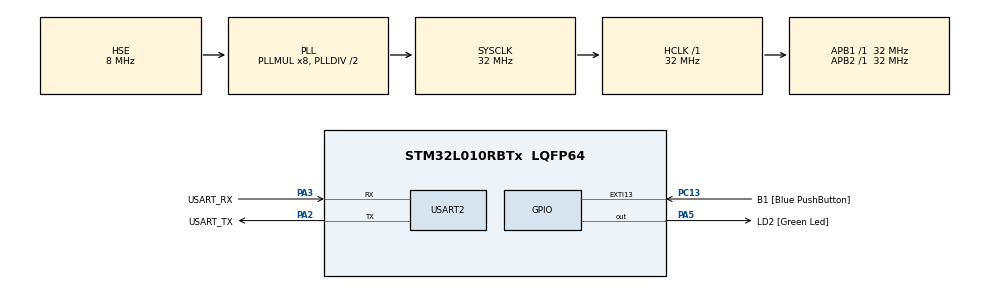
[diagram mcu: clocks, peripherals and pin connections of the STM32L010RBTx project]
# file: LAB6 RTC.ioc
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Mcu.Family=STM32L0
Mcu.Name=STM32L010RBTx
Mcu.Package=LQFP64
NVIC.RTC_IRQn=true\:0\:0\:false\:false\:true\:true\:true\:true
PA13.GPIO_Label=TMS
PA13.Mode=Serial_Wire
PA13.Signal=SYS_SWDIO
PA14.GPIO_Label=TCK
PA14.Mode=Serial_Wire
PA14.Signal=SYS_SWCLK
PA2.GPIO_Label=USART_TX
PA2.Mode=Asynchronous
PA2.Signal=USART2_TX
PA3.GPIO_Label=USART_RX
PA3.Mode=Asynchronous
PA3.Signal=USART2_RX
PA5.GPIO_Label=LD2 [Green Led]
PA5.Signal=GPIO_Output
PC13.GPIO_Label=B1 [Blue PushButton]
PC13.GPIO_ModeDefaultEXTI=GPIO_MODE_IT_FALLING
PC13.Signal=GPXTI13
PC14-OSC32_IN.Mode=LSE-External-Oscillator
PC14-OSC32_IN.Signal=RCC_OSC32_IN
PC15-OSC32_OUT.Mode=LSE-External-Oscillator
PC15-OSC32_OUT.Signal=RCC_OSC32_OUT
PH0-OSC_IN.GPIO_Label=MCO
PH0-OSC_IN.Mode=HSE-External-Clock-Source
PH0-OSC_IN.Signal=RCC_OSC_IN
ProjectManager.HeapSize=0x200
ProjectManager.StackSize=0x400
ProjectManager.TargetToolchain=STM32CubeIDE
RCC.AHBFreq_Value=32000000
RCC.APB1Freq_Value=32000000
RCC.APB1TimFreq_Value=32000000
RCC.APB2Freq_Value=32000000
RCC.APB2TimFreq_Value=32000000
RCC.HCLKFreq_Value=32000000
RCC.HSE_VALUE=8000000
RCC.HSI16_VALUE=16000000
RCC.HSI48_VALUE=48000000
RCC.HSI_VALUE=16000000
RCC.MSI_VALUE=2097000
RCC.PLLMUL=RCC_PLLMUL_8
RCC.PLLSourceVirtual=RCC_PLLSOURCE_HSE
RCC.SYSCLKFreq_VALUE=32000000
RCC.SYSCLKSource=RCC_SYSCLKSOURCE_PLLCLK
RCC.VCOOutputFreq_Value=64000000
RTC.Alarm-Alarm\ A=RTC_ALARM_A
RTC.AlarmMaskHours-Alarm\ A=RTC_ALARMMASK_HOURS
RTC.AlarmMaskMinutes-Alarm\ A=RTC_ALARMMASK_MINUTES
RTC.AlarmMaskSeconds-Alarm\ A=RTC_ALARMMASK_SECONDS
USART2.VirtualMode-Asynchronous=VM_ASYNC
VP_RTC_VS_RTC_Activate.Mode=RTC_Enabled
VP_RTC_VS_RTC_Alarm_A_Intern.Mode=Alarm A
VP_RTC_VS_RTC_Calendar.Mode=RTC_Calendar
board=NUCLEO-L010RB

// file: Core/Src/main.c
/* USER CODE BEGIN Header */
/**
 ******************************************************************************
 * @file           : main.c
 * @brief          : Main program body
 ******************************************************************************
 * @attention
 *
 * Copyright (c) 2023 STMicroelectronics.
 * All rights reserved.
 *
 * This software is licensed under terms that can be found in the LICENSE file
 * in the root directory of this software component.
 * If no LICENSE file comes with this software, it is provided AS-IS.
 *
 ******************************************************************************
 */
/* USER CODE END Header */
#include "main.h"

RTC_HandleTypeDef hrtc;

UART_HandleTypeDef huart2;

/* USER CODE BEGIN PV */

RTC_TimeTypeDef NowTime;
RTC_DateTypeDef NowDate;
struct {
	int time;
	int alarm;
} Set = { 0 };

/* USER CODE END PV */

void SystemClock_Config(void);
static void MX_GPIO_Init(void);
static void MX_USART2_UART_Init(void);
static void MX_RTC_Init(void);

int main(void) {

	/* MCU Configuration--------------------------------------------------------*/

	/* Reset of all peripherals, Initializes the Flash interface and the Systick. */
	HAL_Init();

	/* Configure the system clock */
	SystemClock_Config();

	/* Initialize all configured peripherals */
	MX_GPIO_Init();
	MX_USART2_UART_Init();
	MX_RTC_Init();

	/* Infinite loop */
	/* USER CODE BEGIN WHILE */
	while (1) {

		if (Set.time) {
			Set.time = 0;
			//setting Time
			RTC_TimeTypeDef sTime = { 0 };
			sTime.Hours = 0x11;
			sTime.Minutes = 0x55;
			sTime.Seconds = 0;
			HAL_RTC_SetTime(&hrtc, &sTime, RTC_FORMAT_BCD);
			RTC_DateTypeDef sDate = { 0 };
			sDate.Date = 0x20;
			sDate.Month = 0x10;
			sDate.WeekDay = RTC_WEEKDAY_FRIDAY;
			sDate.Year = 0x23;
			HAL_RTC_SetDate(&hrtc, &sDate, RTC_FORMAT_BCD);
		}

		if (Set.alarm) {
			Set.alarm = 0;
			//set alarm at next 10s , and Sleep CPU
			RTC_AlarmTypeDef sAlarm = { 0 };
			RTC_TimeTypeDef sTime = NowTime;
			//set alarm at now + 10 s
			sTime.Seconds += 0x10;
			//corrected over time
			if (sTime.Seconds >= 0x60) {
				sTime.Seconds -= 0x60;
				sTime.Minutes++;
				if (sTime.Minutes >= 0x60) {
					sTime.Minutes -= 0x60;
					sTime.Hours++;
					if (sTime.Hours >= 0x24) {
						sTime.Hours -= 0x24;
					}
				}
			}
			//setting alarm mask
			sAlarm.AlarmTime = sTime;
			sAlarm.Alarm = RTC_ALARM_A;
			sAlarm.AlarmMask = RTC_ALARMMASK_DATEWEEKDAY;
			sAlarm.AlarmSubSecondMask = RTC_ALARMSUBSECONDMASK_NONE;
			sAlarm.AlarmDateWeekDaySel = RTC_ALARMDATEWEEKDAYSEL_DATE;
			sAlarm.AlarmDateWeekDay = 0x1;
			//stop LED (For save energy)
			HAL_GPIO_WritePin(LD2_GPIO_Port, LD2_Pin, GPIO_PIN_RESET);
			//set alarm
			HAL_RTC_SetAlarm_IT(&hrtc, &sAlarm, RTC_FORMAT_BCD);
			//put CPU to stop mode
			HAL_SuspendTick();
			HAL_PWR_EnterSLEEPMode( PWR_MAINREGULATOR_ON, PWR_STOPENTRY_WFE);
			//code stop / resume here
			HAL_ResumeTick();
		}

		/* USER CODE END WHILE */

		/* USER CODE BEGIN 3 */

		//simulate task
		HAL_Delay(100);
		HAL_GPIO_TogglePin(LD2_GPIO_Port, LD2_Pin);
		//read RTC NEED TO READ BOTH IN ORDER
		HAL_RTC_GetTime(&hrtc, &NowTime, RTC_FORMAT_BCD);
		HAL_RTC_GetDate(&hrtc, &NowDate, RTC_FORMAT_BCD);
	}
	/* USER CODE END 3 */
}

void SystemClock_Config(void) {
	RCC_OscInitTypeDef RCC_OscInitStruct = { 0 };
	RCC_ClkInitTypeDef RCC_ClkInitStruct = { 0 };
	RCC_PeriphCLKInitTypeDef PeriphClkInit = { 0 };

	/** Configure the main internal regulator output voltage
	 */
	__HAL_PWR_VOLTAGESCALING_CONFIG(PWR_REGULATOR_VOLTAGE_SCALE1);

	/** Initializes the RCC Oscillators according to the specified parameters
	 * in the RCC_OscInitTypeDef structure.
	 */
	RCC_OscInitStruct.OscillatorType = RCC_OSCILLATORTYPE_LSI | RCC_OSCILLATORTYPE_HSE;
	RCC_OscInitStruct.HSEState = RCC_HSE_BYPASS;
	RCC_OscInitStruct.LSIState = RCC_LSI_ON;
	RCC_OscInitStruct.PLL.PLLState = RCC_PLL_ON;
	RCC_OscInitStruct.PLL.PLLSource = RCC_PLLSOURCE_HSE;
	RCC_OscInitStruct.PLL.PLLMUL = RCC_PLLMUL_8;
	RCC_OscInitStruct.PLL.PLLDIV = RCC_PLLDIV_2;
	if (HAL_RCC_OscConfig(&RCC_OscInitStruct) != HAL_OK) {
		Error_Handler();
	}

	/** Initializes the CPU, AHB and APB buses clocks
	 */
	RCC_ClkInitStruct.ClockType = RCC_CLOCKTYPE_HCLK | RCC_CLOCKTYPE_SYSCLK | RCC_CLOCKTYPE_PCLK1 | RCC_CLOCKTYPE_PCLK2;
	RCC_ClkInitStruct.SYSCLKSource = RCC_SYSCLKSOURCE_PLLCLK;
	RCC_ClkInitStruct.AHBCLKDivider = RCC_SYSCLK_DIV1;
	RCC_ClkInitStruct.APB1CLKDivider = RCC_HCLK_DIV1;
	RCC_ClkInitStruct.APB2CLKDivider = RCC_HCLK_DIV1;

	if (HAL_RCC_ClockConfig(&RCC_ClkInitStruct, FLASH_LATENCY_1) != HAL_OK) {
		Error_Handler();
	}
	PeriphClkInit.PeriphClockSelection = RCC_PERIPHCLK_USART2 | RCC_PERIPHCLK_RTC;
	PeriphClkInit.Usart2ClockSelection = RCC_USART2CLKSOURCE_PCLK1;
	PeriphClkInit.RTCClockSelection = RCC_RTCCLKSOURCE_LSI;
	if (HAL_RCCEx_PeriphCLKConfig(&PeriphClkInit) != HAL_OK) {
		Error_Handler();
	}
}

static void MX_RTC_Init(void) {

	RTC_TimeTypeDef sTime = { 0 };
	RTC_DateTypeDef sDate = { 0 };
	RTC_AlarmTypeDef sAlarm = { 0 };

	/** Initialize RTC Only
	 */
	hrtc.Instance = RTC;
	hrtc.Init.HourFormat = RTC_HOURFORMAT_24;
	hrtc.Init.AsynchPrediv = 127;
	hrtc.Init.SynchPrediv = 255;
	hrtc.Init.OutPut = RTC_OUTPUT_DISABLE;
	hrtc.Init.OutPutRemap = RTC_OUTPUT_REMAP_NONE;
	hrtc.Init.OutPutPolarity = RTC_OUTPUT_POLARITY_HIGH;
	hrtc.Init.OutPutType = RTC_OUTPUT_TYPE_OPENDRAIN;
	if (HAL_RTC_Init(&hrtc) != HAL_OK) {
		Error_Handler();
	}

	/* USER CODE BEGIN Check_RTC_BKUP */

	if (HAL_RTCEx_BKUPRead(&hrtc, 0) != 0x1234) //checking lost power rtc reset
			{

		/* USER CODE END Check_RTC_BKUP */

		/** Initialize RTC and set the Time and Date
		 */
		sTime.Hours = 0x0;
		sTime.Minutes = 0x0;
		sTime.Seconds = 0x0;
		sTime.DayLightSaving = RTC_DAYLIGHTSAVING_NONE;
		sTime.StoreOperation = RTC_STOREOPERATION_RESET;
		if (HAL_RTC_SetTime(&hrtc, &sTime, RTC_FORMAT_BCD) != HAL_OK) {
			Error_Handler();
		}
		sDate.WeekDay = RTC_WEEKDAY_MONDAY;
		sDate.Month = RTC_MONTH_JANUARY;
		sDate.Date = 0x1;
		sDate.Year = 0x0;

		if (HAL_RTC_SetDate(&hrtc, &sDate, RTC_FORMAT_BCD) != HAL_OK) {
			Error_Handler();
		}

		/** Enable the Alarm A
		 */
		sAlarm.AlarmTime.Hours = 0x0;
		sAlarm.AlarmTime.Minutes = 0x0;
		sAlarm.AlarmTime.Seconds = 0x0;
		sAlarm.AlarmTime.SubSeconds = 0x0;
		sAlarm.AlarmTime.DayLightSaving = RTC_DAYLIGHTSAVING_NONE;
		sAlarm.AlarmTime.StoreOperation = RTC_STOREOPERATION_RESET;
		sAlarm.AlarmMask = RTC_ALARMMASK_HOURS | RTC_ALARMMASK_MINUTES | RTC_ALARMMASK_SECONDS;
		sAlarm.AlarmSubSecondMask = RTC_ALARMSUBSECONDMASK_ALL;
		sAlarm.AlarmDateWeekDaySel = RTC_ALARMDATEWEEKDAYSEL_DATE;
		sAlarm.AlarmDateWeekDay = 0x1;
		sAlarm.Alarm = RTC_ALARM_A;
		if (HAL_RTC_SetAlarm_IT(&hrtc, &sAlarm, RTC_FORMAT_BCD) != HAL_OK) {
			Error_Handler();
		}
		/* USER CODE BEGIN RTC_Init 2 */

		HAL_RTCEx_BKUPWrite(&hrtc, 0, 0x1234); //write Private "Key" data
	}

	/* USER CODE END RTC_Init 2 */

}

static void MX_USART2_UART_Init(void) {

	huart2.Instance = USART2;
	huart2.Init.BaudRate = 115200;
	huart2.Init.WordLength = UART_WORDLENGTH_8B;
	huart2.Init.StopBits = UART_STOPBITS_1;
	huart2.Init.Parity = UART_PARITY_NONE;
	huart2.Init.Mode = UART_MODE_TX_RX;
	huart2.Init.HwFlowCtl = UART_HWCONTROL_NONE;
	huart2.Init.OverSampling = UART_OVERSAMPLING_16;
	huart2.Init.OneBitSampling = UART_ONE_BIT_SAMPLE_DISABLE;
	huart2.AdvancedInit.AdvFeatureInit = UART_ADVFEATURE_NO_INIT;
	if (HAL_UART_Init(&huart2) != HAL_OK) {
		Error_Handler();
	}

}

static void MX_GPIO_Init(void) {
	GPIO_InitTypeDef GPIO_InitStruct = { 0 };

	/* GPIO Ports Clock Enable */
	__HAL_RCC_GPIOC_CLK_ENABLE();
	__HAL_RCC_GPIOH_CLK_ENABLE();
	__HAL_RCC_GPIOA_CLK_ENABLE();

	/*Configure GPIO pin Output Level */
	HAL_GPIO_WritePin(LD2_GPIO_Port, LD2_Pin, GPIO_PIN_RESET);

	/*Configure GPIO pin : B1_Pin */
	GPIO_InitStruct.Pin = B1_Pin;
	GPIO_InitStruct.Mode = GPIO_MODE_IT_FALLING;
	GPIO_InitStruct.Pull = GPIO_NOPULL;
	HAL_GPIO_Init(B1_GPIO_Port, &GPIO_InitStruct);

	/*Configure GPIO pin : LD2_Pin */
	GPIO_InitStruct.Pin = LD2_Pin;
	GPIO_InitStruct.Mode = GPIO_MODE_OUTPUT_PP;
	GPIO_InitStruct.Pull = GPIO_NOPULL;
	GPIO_InitStruct.Speed = GPIO_SPEED_FREQ_LOW;
	HAL_GPIO_Init(LD2_GPIO_Port, &GPIO_InitStruct);

}

void Error_Handler(void) {
	__disable_irq();
	while (1) {
	}
}
